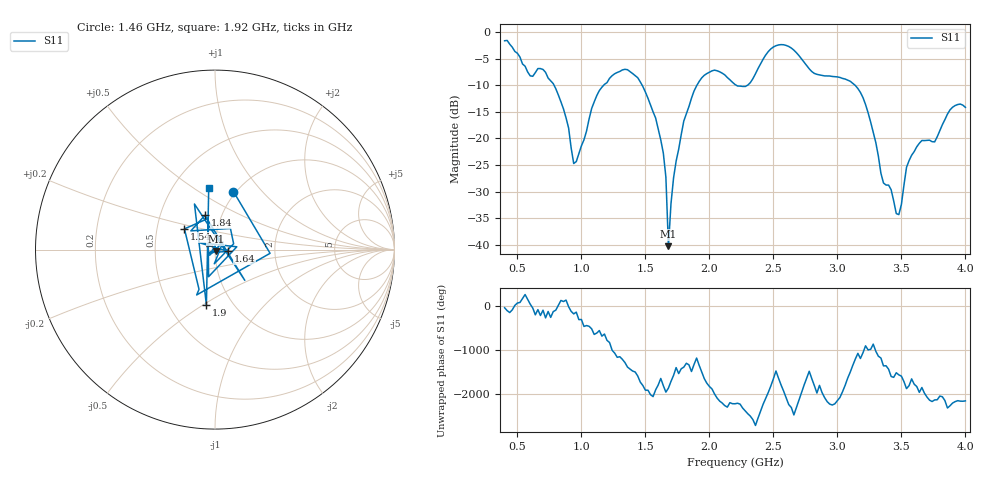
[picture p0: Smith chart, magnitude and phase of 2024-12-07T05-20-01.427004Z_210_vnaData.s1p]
!Created with skrf (http://scikit-rf.org).
# Hz S RI R 50.0
!freq ReS11 ImS11
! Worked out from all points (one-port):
!   181 points, 400 MHz to 4 GHz, reference 50 ohm
!   lowest |S11| = -40.2 dB at 1.68 GHz (marker M1), VSWR 1.02, Z = 50.4 - j0.876 ohm
!   |S11| at or under -10 dB: 786.1 MHz to 1.175 GHz (388.4 MHz wide, 39.6 % of centre); 1.474 GHz to 1.903 GHz (428.7 MHz wide, 25.4 % of centre); 3.137 GHz to end of sweep (the widest 3 of 4)
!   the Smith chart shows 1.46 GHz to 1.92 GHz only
!   S11 on the Smith chart (normalised r, x): 1.46 GHz: 0.97, +0.71; 1.54 GHz: 0.69, +0.17; 1.64 GHz: 1.16, -0.02; 1.84 GHz: 0.83, +0.33; 1.9 GHz: 0.76, -0.52; 1.92 GHz: 0.74, +0.57
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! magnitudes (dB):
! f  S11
! 400 MHz  -1.7
! 600 MHz  -8.2
! 720 MHz  -7.6
! 860 MHz  -14.5
! 940 MHz  -24.7
! 1.12 GHz  -12.0
! 1.3 GHz  -7.4
! 1.46 GHz  -9.4
! 1.54 GHz  -13.7
! 1.64 GHz  -22.8
! 1.66 GHz  -27.2
! 1.68 GHz  -40.2
! 1.72 GHz  -27.4
! 1.76 GHz  -22.0
! 1.84 GHz  -14.0
! 1.9 GHz  -10.1
! 1.92 GHz  -9.3
! 2.04 GHz  -7.2
! 2.2 GHz  -9.9
! 2.3 GHz  -10.0
! 2.5 GHz  -2.8
! 2.66 GHz  -3.4
! 3.1 GHz  -9.3
! 3.22 GHz  -13.6
! 3.36 GHz  -28.4
! 3.46 GHz  -34.1
! 3.56 GHz  -24.2
! 4 GHz  -14.2
